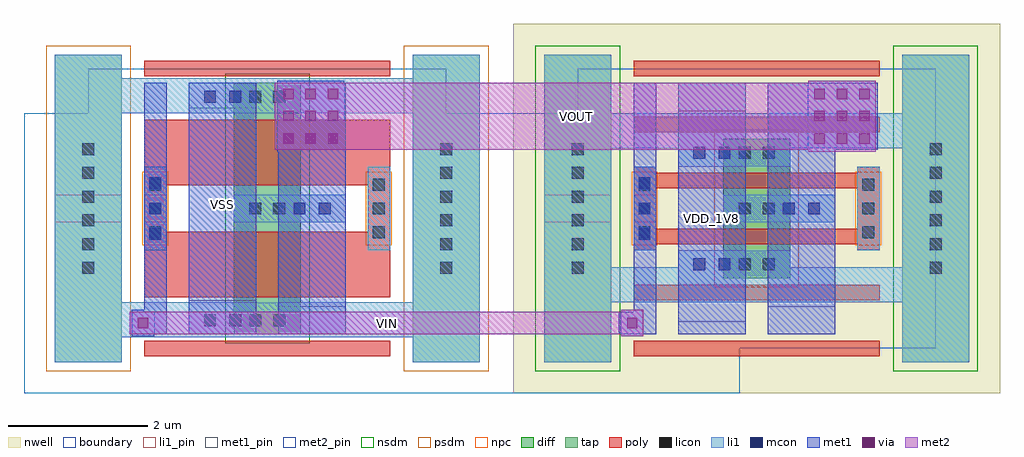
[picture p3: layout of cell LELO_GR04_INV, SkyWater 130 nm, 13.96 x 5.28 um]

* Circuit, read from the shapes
.subckt LELO_GR04_INV VDD_1V8 VIN VOUT VSS
XM1 VOUT VIN VSS VSS sky130_fd_pr__nfet_01v8 w=0.96 l=0.94 m=2
XM2 VOUT VIN VDD_1V8 VDD_1V8 sky130_fd_pr__pfet_01v8 w=0.96 l=0.22 m=2
.ends

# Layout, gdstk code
import gdstk
lib = gdstk.Library(unit=1e-6, precision=1e-09)
def R(c, l, rs):  # rectangles x0, y0, x1, y1
    for r in rs: c.add(gdstk.rectangle(r[:2], r[2:], *l))
def A(c, l, x, y, w, h, nx, ny, dx, dy):  # array of equal rectangles
    R(c, l, [(x+i*dx, y+j*dy, x+i*dx+w, y+j*dy+h) for i in range(nx) for j in range(ny)])
nwell = (64, 20)
diff = (65, 20)
tap = (65, 44)
poly = (66, 20)
licon = (66, 44)
li1_pin = (67, 16)
li1 = (67, 20)
mcon = (67, 44)
met1_pin = (68, 16)
met1 = (68, 20)
via = (68, 44)
met2_pin = (69, 16)
met2 = (69, 20)
nsdm = (93, 44)
psdm = (94, 20)
npc = (95, 20)
boundary = (235, 4)

jnwatr_nch_2c5f0 = lib.new_cell('JNWATR_NCH_2C5F0')
R(jnwatr_nch_2c5f0, diff, [(2.08,0.2,3.04,3.8)])
R(jnwatr_nch_2c5f0, tap, [(-0.48,-0.2,0.48,4.2), (4.64,-0.2,5.6,4.2)])
R(jnwatr_nch_2c5f0, poly, [(0.8,-0.11,4.32,0.11), (0.8,0.73,4.32,1.67), (0.8,1.67,1.12,2.33), (4,1.67,4.32,2.33), (0.8,2.33,4.32,3.27), (0.8,3.89,4.32,4.11)])
A(jnwatr_nch_2c5f0, licon, 2.305, 0.315, 0.17, 0.17, 1, 3, 0, 1.6)
A(jnwatr_nch_2c5f0, licon, 2.645, 0.315, 0.17, 0.17, 1, 3, 0, 1.6)
A(jnwatr_nch_2c5f0, licon, -0.085, 1.065, 0.17, 0.17, 1, 6, 0, 0.34)
A(jnwatr_nch_2c5f0, licon, 5.035, 1.065, 0.17, 0.17, 1, 6, 0, 0.34)
A(jnwatr_nch_2c5f0, licon, 0.87, 1.575, 0.17, 0.17, 1, 3, 0, 0.34)
A(jnwatr_nch_2c5f0, licon, 4.07, 1.575, 0.17, 0.17, 1, 3, 0, 0.34)
R(jnwatr_nch_2c5f0, li1_pin, [(-0.48,1.8,0.48,2.2)])
R(jnwatr_nch_2c5f0, li1, [(-0.48,-0.2,0.48,4.2), (4.64,-0.2,5.6,4.2), (1.44,0.2,3.04,0.6), (0.8,1.4,1.12,2.6), (4,1.4,4.32,2.6), (2.08,1.8,3.68,2.2), (1.44,3.4,3.04,3.8)])
A(jnwatr_nch_2c5f0, mcon, 0.87, 1.555, 0.17, 0.17, 1, 3, 0, 0.36)
R(jnwatr_nch_2c5f0, mcon, [(1.655,0.315,1.825,0.485), (2.015,0.315,2.185,0.485), (2.935,1.915,3.105,2.085), (3.295,1.915,3.465,2.085), (1.655,3.515,1.825,3.685), (2.015,3.515,2.185,3.685)])
R(jnwatr_nch_2c5f0, met1_pin, [(2.72,0.2,3.68,0.6), (0.8,1.8,1.12,2.2), (1.44,3,2.4,3.4)])
R(jnwatr_nch_2c5f0, met1, [(0.8,0.2,1.12,3.8), (1.44,0.2,2.4,3.8), (2.72,0.2,3.68,3.8)])
R(jnwatr_nch_2c5f0, nsdm, [(1.955,0.075,3.165,3.925)])
R(jnwatr_nch_2c5f0, psdm, [(-0.605,-0.325,0.605,4.325), (4.515,-0.325,5.725,4.325)])
R(jnwatr_nch_2c5f0, npc, [(0.77,1.475,1.14,2.525), (3.97,1.475,4.34,2.525)])
R(jnwatr_nch_2c5f0, boundary, [(0,0,5.12,4)])
jnwatr_nch_2c5f0.add(gdstk.Label('B', (0,2), layer=67, texttype=5))
jnwatr_nch_2c5f0.add(gdstk.Label('G', (0.96,2), layer=68, texttype=5))
jnwatr_nch_2c5f0.add(gdstk.Label('S', (1.92,3.2), layer=68, texttype=5))
jnwatr_nch_2c5f0.add(gdstk.Label('D', (3.2,0.4), layer=68, texttype=5))

jnwatr_pch_2c1f2 = lib.new_cell('JNWATR_PCH_2C1F2')
R(jnwatr_pch_2c1f2, nwell, [(-0.92,-0.64,6.04,4.64)])
R(jnwatr_pch_2c1f2, diff, [(2.08,1,3.04,3)])
R(jnwatr_pch_2c1f2, tap, [(-0.48,-0.2,0.48,4.2), (4.64,-0.2,5.6,4.2)])
A(jnwatr_pch_2c1f2, poly, 0.8, -0.11, 3.52, 0.22, 1, 6, 0, 0.8)
R(jnwatr_pch_2c1f2, poly, [(0.8,1.4,1.12,1.49), (4,1.4,4.32,1.49), (0.8,1.71,1.12,2.29), (4,1.71,4.32,2.29), (0.8,2.51,1.12,2.6), (4,2.51,4.32,2.6)])
A(jnwatr_pch_2c1f2, licon, -0.085, 1.065, 0.17, 0.17, 1, 6, 0, 0.34)
A(jnwatr_pch_2c1f2, licon, 5.035, 1.065, 0.17, 0.17, 1, 6, 0, 0.34)
A(jnwatr_pch_2c1f2, licon, 2.305, 1.115, 0.17, 0.17, 1, 3, 0, 0.8)
A(jnwatr_pch_2c1f2, licon, 2.645, 1.115, 0.17, 0.17, 1, 3, 0, 0.8)
A(jnwatr_pch_2c1f2, licon, 0.87, 1.575, 0.17, 0.17, 1, 3, 0, 0.34)
A(jnwatr_pch_2c1f2, licon, 4.07, 1.575, 0.17, 0.17, 1, 3, 0, 0.34)
R(jnwatr_pch_2c1f2, li1_pin, [(-0.48,1.8,0.48,2.2)])
R(jnwatr_pch_2c1f2, li1, [(-0.48,-0.2,0.48,4.2), (4.64,-0.2,5.6,4.2), (1.44,1,3.04,1.4), (0.8,1.4,1.12,2.6), (4,1.4,4.32,2.6), (2.08,1.8,3.68,2.2), (1.44,2.6,3.04,3)])
A(jnwatr_pch_2c1f2, mcon, 0.87, 1.555, 0.17, 0.17, 1, 3, 0, 0.36)
R(jnwatr_pch_2c1f2, mcon, [(1.655,1.115,1.825,1.285), (2.015,1.115,2.185,1.285), (2.935,1.915,3.105,2.085), (3.295,1.915,3.465,2.085), (1.655,2.715,1.825,2.885), (2.015,2.715,2.185,2.885)])
R(jnwatr_pch_2c1f2, met1_pin, [(2.72,0.2,3.68,0.6), (0.8,1.8,1.12,2.2), (1.44,3,2.4,3.4)])
R(jnwatr_pch_2c1f2, met1, [(0.8,0.2,1.12,3.8), (1.44,0.2,2.4,3.8), (2.72,0.2,3.68,3.8)])
R(jnwatr_pch_2c1f2, nsdm, [(-0.605,-0.325,0.605,4.325), (4.515,-0.325,5.725,4.325)])
R(jnwatr_pch_2c1f2, psdm, [(1.955,0.875,3.165,3.125)])
R(jnwatr_pch_2c1f2, npc, [(0.77,1.475,1.14,2.525), (3.97,1.475,4.34,2.525)])
R(jnwatr_pch_2c1f2, boundary, [(0,0,5.12,4)])
jnwatr_pch_2c1f2.add(gdstk.Label('B', (0,2), layer=67, texttype=5))
jnwatr_pch_2c1f2.add(gdstk.Label('G', (0.96,2), layer=68, texttype=5))
jnwatr_pch_2c1f2.add(gdstk.Label('S', (1.92,3.2), layer=68, texttype=5))
jnwatr_pch_2c1f2.add(gdstk.Label('D', (3.2,0.4), layer=68, texttype=5))

lelo_gr04_inv = lib.new_cell('LELO_GR04_INV')
R(lelo_gr04_inv, li1, [(1.3,0.8,5.6,1.3), (8.3,1.3,12.6,1.8), (8.3,3.5,12.6,4), (1.3,4,5.6,4.5)])
R(lelo_gr04_inv, met1_pin, [(9.36,1.02,10.32,3.98), (2.36,1.32,3.32,4.08)])
R(lelo_gr04_inv, met1, [(1.54,0.81,1.86,1.19), (8.51,0.84,9.04,1.16), (9.36,1.02,10.32,3.98), (2.36,1.32,3.32,4.08), (3.62,3.45,4.58,4.47), (10.64,3.48,12.21,4.44)])
A(lelo_gr04_inv, via, 3.705, 3.565, 0.15, 0.15, 3, 3, 0.32, 0.32)
A(lelo_gr04_inv, via, 11.305, 3.565, 0.15, 0.15, 3, 3, 0.32, 0.32)
R(lelo_gr04_inv, via, [(1.625,0.925,1.775,1.075), (8.625,0.925,8.775,1.075)])
R(lelo_gr04_inv, met2_pin, [(1.86,0.84,8.54,1.16), (4.58,3.48,11.22,4.44)])
R(lelo_gr04_inv, met2, [(8.54,0.81,8.86,0.84), (1.51,0.84,8.86,1.16), (8.54,1.16,8.86,1.19), (11.22,3.45,12.18,3.48), (3.59,3.48,12.18,4.44), (11.22,4.44,12.18,4.47)])
R(lelo_gr04_inv, boundary, [(0,0,10.24,4)])
lelo_gr04_inv.add(gdstk.Reference(jnwatr_nch_2c5f0, (0.92,0.64)))
lelo_gr04_inv.add(gdstk.Reference(jnwatr_pch_2c1f2, (7.92,0.64)))
lelo_gr04_inv.add(gdstk.Label('VDD_1V8', (9.84,2.5), layer=68, texttype=5))
lelo_gr04_inv.add(gdstk.Label('VSS', (2.84,2.7), layer=68, texttype=5))
lelo_gr04_inv.add(gdstk.Label('VIN', (5.2,1), layer=69, texttype=5))
lelo_gr04_inv.add(gdstk.Label('VOUT', (7.9,3.96), layer=69, texttype=5))

lib.write_gds('LELO_GR04_INV.gds')
